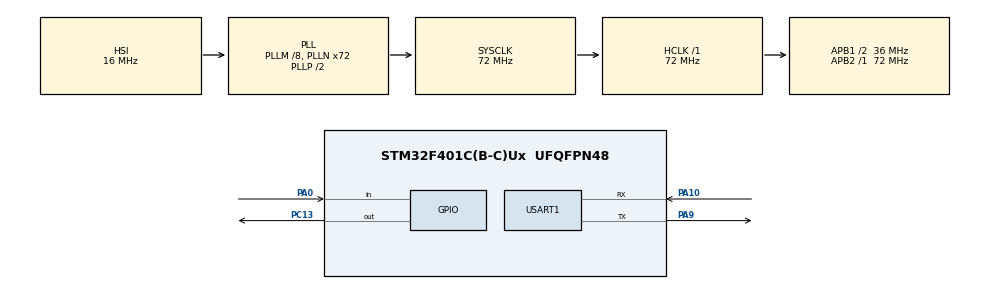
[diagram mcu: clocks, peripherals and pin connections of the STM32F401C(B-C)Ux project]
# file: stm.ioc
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Mcu.Family=STM32F4
Mcu.Name=STM32F401C(B-C)Ux
Mcu.Package=UFQFPN48
NVIC.PriorityGroup=NVIC_PRIORITYGROUP_4
NVIC.USART1_IRQn=true\:0\:0\:false\:false\:true\:true\:true\:true
PA0-WKUP.GPIO_PuPd=GPIO_PULLUP
PA0-WKUP.Signal=GPIO_Input
PA10.Mode=Asynchronous
PA10.Signal=USART1_RX
PA13.Mode=Serial_Wire
PA13.Signal=SYS_JTMS-SWDIO
PA14.Mode=Serial_Wire
PA14.Signal=SYS_JTCK-SWCLK
PA9.Mode=Asynchronous
PA9.Signal=USART1_TX
PC13-ANTI_TAMP.PinState=GPIO_PIN_SET
PC13-ANTI_TAMP.Signal=GPIO_Output
PH0\ -\ OSC_IN.Mode=HSE-External-Oscillator
PH0\ -\ OSC_IN.Signal=RCC_OSC_IN
PH1\ -\ OSC_OUT.Mode=HSE-External-Oscillator
PH1\ -\ OSC_OUT.Signal=RCC_OSC_OUT
ProjectManager.HeapSize=0x200
ProjectManager.StackSize=0x400
ProjectManager.TargetToolchain=CMake
RCC.48MHZClocksFreq_Value=36000000
RCC.AHBFreq_Value=72000000
RCC.APB1CLKDivider=RCC_HCLK_DIV2
RCC.APB1Freq_Value=36000000
RCC.APB1TimFreq_Value=72000000
RCC.APB2Freq_Value=72000000
RCC.APB2TimFreq_Value=72000000
RCC.CortexFreq_Value=72000000
RCC.HCLKFreq_Value=72000000
RCC.HSE_VALUE=25000000
RCC.HSI_VALUE=16000000
RCC.LSE_VALUE=32768
RCC.PLLM=8
RCC.PLLN=72
RCC.SYSCLKFreq_VALUE=72000000
RCC.SYSCLKSource=RCC_SYSCLKSOURCE_PLLCLK
RCC.VCOOutputFreq_Value=144000000
USART1.VirtualMode=VM_ASYNC
board=custom

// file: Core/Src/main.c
/* USER CODE BEGIN Header */
/**
  ******************************************************************************
  * @file           : main.c
  * @brief          : Main program body
  ******************************************************************************
  * @attention
  *
  * Copyright (c) 2026 STMicroelectronics.
  * All rights reserved.
  *
  * This software is licensed under terms that can be found in the LICENSE file
  * in the root directory of this software component.
  * If no LICENSE file comes with this software, it is provided AS-IS.
  *
  ******************************************************************************
  */
/* USER CODE END Header */
#include "main.h"
#include <stdint.h>

/* USER CODE BEGIN PD */
#define BTN_EVENT_BYTE      0xA5
#define DEBOUNCE_MS         30

static uint8_t  rxByte;                 // буфер для прийому одного байта по перериванню
static uint8_t  ledState   = 0;         // поточний стан LED (0/1)
static GPIO_PinState lastBtnState = GPIO_PIN_SET; // 1 = не натиснута (pull-up)
static uint32_t lastDebounceTime = 0;
/* USER CODE END PD */

UART_HandleTypeDef huart1;

void SystemClock_Config(void);
static void MX_GPIO_Init(void);
static void MX_USART1_UART_Init(void);
/* USER CODE BEGIN PFP */
void HAL_UART_RxCpltCallback(UART_HandleTypeDef *huart);
/* USER CODE END PFP */

int main(void)
{

  /* MCU Configuration--------------------------------------------------------*/

  /* Reset of all peripherals, Initializes the Flash interface and the Systick. */
  HAL_Init();

  /* Configure the system clock */
  SystemClock_Config();

  /* Initialize all configured peripherals */
  MX_GPIO_Init();
  MX_USART1_UART_Init();
  /* USER CODE BEGIN 2 */
  HAL_UART_Receive_IT(&huart1, &rxByte, 1);
  /* USER CODE END 2 */

  /* Infinite loop */
  /* USER CODE BEGIN WHILE */
  while (1)
  {
      GPIO_PinState level = HAL_GPIO_ReadPin(GPIOA, GPIO_PIN_0); // кнопка на PA0

      if (level != lastBtnState && (HAL_GetTick() - lastDebounceTime) > DEBOUNCE_MS)
      {
          lastDebounceTime = HAL_GetTick();
          lastBtnState = level;

          if (level == GPIO_PIN_RESET) // натиснута (активний LOW)
          {
              uint8_t b = BTN_EVENT_BYTE;
              HAL_UART_Transmit(&huart1, &b, 1, 100);
          }
      }

      /* USER CODE END WHILE */

  }

void SystemClock_Config(void)
{
  RCC_OscInitTypeDef RCC_OscInitStruct = {0};
  RCC_ClkInitTypeDef RCC_ClkInitStruct = {0};

  /** Configure the main internal regulator output voltage
  */
  __HAL_RCC_PWR_CLK_ENABLE();
  __HAL_PWR_VOLTAGESCALING_CONFIG(PWR_REGULATOR_VOLTAGE_SCALE2);

  /** Initializes the RCC Oscillators according to the specified parameters
  * in the RCC_OscInitTypeDef structure.
  */
  RCC_OscInitStruct.OscillatorType = RCC_OSCILLATORTYPE_HSI;
  RCC_OscInitStruct.HSIState = RCC_HSI_ON;
  RCC_OscInitStruct.HSICalibrationValue = RCC_HSICALIBRATION_DEFAULT;
  RCC_OscInitStruct.PLL.PLLState = RCC_PLL_ON;
  RCC_OscInitStruct.PLL.PLLSource = RCC_PLLSOURCE_HSI;
  RCC_OscInitStruct.PLL.PLLM = 8;
  RCC_OscInitStruct.PLL.PLLN = 72;
  RCC_OscInitStruct.PLL.PLLP = RCC_PLLP_DIV2;
  RCC_OscInitStruct.PLL.PLLQ = 4;
  if (HAL_RCC_OscConfig(&RCC_OscInitStruct) != HAL_OK)
  {
    Error_Handler();
  }

  /** Initializes the CPU, AHB and APB buses clocks
  */
  RCC_ClkInitStruct.ClockType = RCC_CLOCKTYPE_HCLK|RCC_CLOCKTYPE_SYSCLK
                              |RCC_CLOCKTYPE_PCLK1|RCC_CLOCKTYPE_PCLK2;
  RCC_ClkInitStruct.SYSCLKSource = RCC_SYSCLKSOURCE_PLLCLK;
  RCC_ClkInitStruct.AHBCLKDivider = RCC_SYSCLK_DIV1;
  RCC_ClkInitStruct.APB1CLKDivider = RCC_HCLK_DIV2;
  RCC_ClkInitStruct.APB2CLKDivider = RCC_HCLK_DIV1;

  if (HAL_RCC_ClockConfig(&RCC_ClkInitStruct, FLASH_LATENCY_2) != HAL_OK)
  {
    Error_Handler();
  }
}

static void MX_USART1_UART_Init(void)
{

  huart1.Instance = USART1;
  huart1.Init.BaudRate = 115200;
  huart1.Init.WordLength = UART_WORDLENGTH_8B;
  huart1.Init.StopBits = UART_STOPBITS_1;
  huart1.Init.Parity = UART_PARITY_NONE;
  huart1.Init.Mode = UART_MODE_TX_RX;
  huart1.Init.HwFlowCtl = UART_HWCONTROL_NONE;
  huart1.Init.OverSampling = UART_OVERSAMPLING_16;
  if (HAL_UART_Init(&huart1) != HAL_OK)
  {
    Error_Handler();
  }

}

static void MX_GPIO_Init(void)
{
  GPIO_InitTypeDef GPIO_InitStruct = {0};

  /* GPIO Ports Clock Enable */
  __HAL_RCC_GPIOC_CLK_ENABLE();
  __HAL_RCC_GPIOH_CLK_ENABLE();
  __HAL_RCC_GPIOA_CLK_ENABLE();

  /*Configure GPIO pin Output Level */
  HAL_GPIO_WritePin(GPIOC, GPIO_PIN_13, GPIO_PIN_SET);

  /*Configure GPIO pin : PC13 */
  GPIO_InitStruct.Pin = GPIO_PIN_13;
  GPIO_InitStruct.Mode = GPIO_MODE_OUTPUT_PP;
  GPIO_InitStruct.Pull = GPIO_NOPULL;
  GPIO_InitStruct.Speed = GPIO_SPEED_FREQ_LOW;
  HAL_GPIO_Init(GPIOC, &GPIO_InitStruct);

  /*Configure GPIO pin : PA0 */
  GPIO_InitStruct.Pin = GPIO_PIN_0;
  GPIO_InitStruct.Mode = GPIO_MODE_INPUT;
  GPIO_InitStruct.Pull = GPIO_PULLUP;
  HAL_GPIO_Init(GPIOA, &GPIO_InitStruct);

}

/* USER CODE BEGIN 4 */
void HAL_UART_RxCpltCallback(UART_HandleTypeDef *huart)
{
    if (huart->Instance == USART1)
    {
        if (rxByte == BTN_EVENT_BYTE)
        {
            ledState = !ledState;
            /* PC13 на Blue Pill активний LOW, тому інвертуємо логіку */
            HAL_GPIO_WritePin(GPIOC, GPIO_PIN_13, ledState ? GPIO_PIN_RESET : GPIO_PIN_SET);
        }
        /* Знову готові приймати наступний байт */
        HAL_UART_Receive_IT(&huart1, &rxByte, 1);
    }
}
/* USER CODE END 4 */

void Error_Handler(void)
{
  __disable_irq();
  while (1)
  {
  }
}
